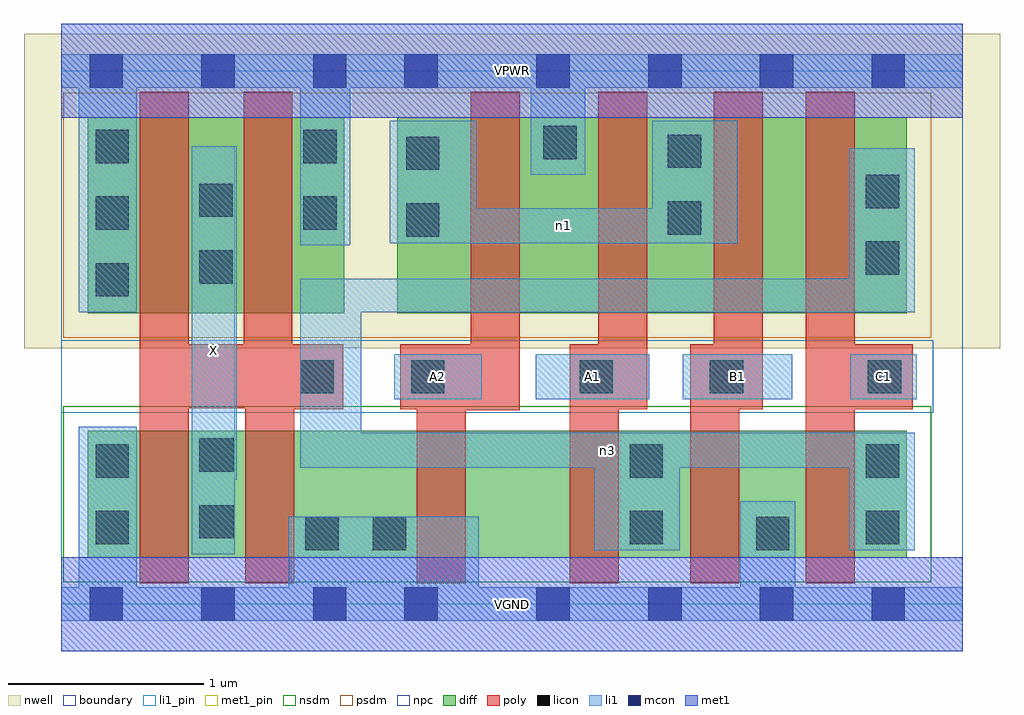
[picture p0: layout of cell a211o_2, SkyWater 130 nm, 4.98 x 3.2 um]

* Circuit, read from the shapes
.subckt a211o_2 A1 A2 B1 C1 VGND VPWR X n1 n3
XM1 X n3 VGND VSUBS sky130_fd_pr__nfet_01v8 w=0.65 l=0.25 m=2
XM2 n2 A2 VGND VSUBS sky130_fd_pr__nfet_01v8 w=0.65 l=0.25
XM3 n3 A1 n2 VSUBS sky130_fd_pr__nfet_01v8 w=0.65 l=0.25
XM4 VGND B1 n3 VSUBS sky130_fd_pr__nfet_01v8 w=0.65 l=0.25
XM5 n3 C1 VGND VSUBS sky130_fd_pr__nfet_01v8 w=0.65 l=0.25
XM6 X n3 VPWR n4 sky130_fd_pr__pfet_01v8 w=1 l=0.25 m=2
XM7 VPWR A2 n1 n4 sky130_fd_pr__pfet_01v8 w=1 l=0.25
XM8 n1 A1 VPWR n4 sky130_fd_pr__pfet_01v8 w=1 l=0.25
XM9 n5 B1 n1 n4 sky130_fd_pr__pfet_01v8 w=1 l=0.25
XM10 n3 C1 n5 n4 sky130_fd_pr__pfet_01v8 w=1 l=0.25
.ends

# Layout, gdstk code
import gdstk
lib = gdstk.Library(unit=1e-6, precision=1e-09)
def R(c, l, rs):  # rectangles x0, y0, x1, y1
    for r in rs: c.add(gdstk.rectangle(r[:2], r[2:], *l))
def A(c, l, x, y, w, h, nx, ny, dx, dy):  # array of equal rectangles
    R(c, l, [(x+i*dx, y+j*dy, x+i*dx+w, y+j*dy+h) for i in range(nx) for j in range(ny)])
nwell = (64, 20)
diff = (65, 20)
poly = (66, 20)
licon = (66, 44)
li1_pin = (67, 16)
li1 = (67, 20)
mcon = (67, 44)
met1_pin = (68, 16)
met1 = (68, 20)
nsdm = (93, 44)
psdm = (94, 20)
npc = (95, 20)
boundary = (235, 4)

a211o_2 = lib.new_cell('a211o_2')
R(a211o_2, nwell, [(-0.19,1.305,4.79,2.91), (0,1.305,4.6,2.91)])
R(a211o_2, diff, [(0.135,0.235,4.315,0.885), (0.135,1.485,1.445,2.485), (1.715,1.485,4.315,2.485)])
R(a211o_2, poly, [(0.4,0.105,0.65,2.615), (0.94,0.105,1.19,1.325), (1.815,0.105,2.065,1.325), (2.595,0.105,2.845,1.325), (3.21,0.105,3.46,1.325), (3.8,0.105,4.05,2.615), (1.815,0.99,2.34,1.325), (2.09,0.99,2.34,2.615), (0.94,0.995,1.44,1.325), (1.73,0.995,2.34,1.325), (2.74,0.995,2.99,2.615), (3.33,0.995,3.58,2.615), (3.8,0.995,4.345,1.325), (0.4,1,1.44,1.325), (0.93,1,1.18,2.615)])
A(a211o_2, licon, 0.175, 1.57, 0.17, 0.17, 1, 3, 0, 0.34)
R(a211o_2, licon, [(1.245,0.275,1.415,0.445), (1.59,0.275,1.76,0.445), (3.545,0.275,3.715,0.445), (0.175,0.305,0.345,0.475), (2.9,0.305,3.07,0.475), (4.105,0.305,4.275,0.475), (0.705,0.335,0.875,0.505), (0.71,0.335,0.88,0.505), (0.175,0.645,0.345,0.815), (2.9,0.645,3.07,0.815), (4.105,0.645,4.275,0.815), (0.705,0.675,0.875,0.845), (0.71,0.675,0.88,0.845), (1.22,1.075,1.39,1.245), (1.785,1.075,1.955,1.245), (2.645,1.075,2.815,1.245), (3.31,1.075,3.48,1.245), (4.115,1.075,4.285,1.245), (0.705,1.635,0.875,1.805), (4.105,1.68,4.275,1.85), (1.76,1.875,1.93,2.045), (3.095,1.885,3.265,2.055), (1.235,1.91,1.405,2.08), (0.705,1.975,0.875,2.145), (4.105,2.02,4.275,2.19), (1.76,2.215,1.93,2.385), (3.095,2.225,3.265,2.395), (1.235,2.25,1.405,2.42), (2.46,2.27,2.63,2.44)])
R(a211o_2, li1_pin, [(0.665,0.255,0.885,2.335), (1.7,1.045,2.145,1.275), (2.42,1.045,3,1.275), (3.17,1.045,3.73,1.275), (4.025,1.045,4.365,1.275)])
R(a211o_2, li1, [(0,-0.085,4.6,0.085), (0.09,-0.085,0.385,0.905), (1.16,-0.085,2.13,0.445), (3.465,-0.085,3.745,0.525), (0.665,0.255,0.885,2.335), (2.72,0.275,3.155,0.875), (4.02,0.275,4.355,0.875), (0.665,0.635,0.895,2.335), (1.22,0.695,4.355,0.875), (1.22,0.695,1.53,1.66), (1.7,1.045,2.145,1.275), (2.42,1.045,3,1.275), (3.17,1.045,3.73,1.275), (4.025,1.045,4.365,1.275), (0.09,1.49,0.385,2.805), (1.22,1.49,4.355,1.66), (4.02,1.49,4.355,2.325), (1.22,1.83,1.475,2.805), (1.675,1.84,3.45,2.02), (1.675,1.84,2.12,2.465), (3.015,1.84,3.45,2.465), (2.395,2.19,2.675,2.805), (0,2.635,4.6,2.805)])
A(a211o_2, mcon, 0.145, -0.085, 0.17, 0.17, 3, 2, 0.57, 2.72)
A(a211o_2, mcon, 2.425, -0.085, 0.17, 0.17, 4, 2, 0.57, 2.72)
R(a211o_2, mcon, [(1.75,-0.085,1.92,0.085), (1.75,2.635,1.92,2.805)])
R(a211o_2, met1_pin, [(0,-0.24,4.6,0.24), (0,2.48,4.6,2.96)])
R(a211o_2, met1, [(0,-0.24,4.6,0.24), (0,2.48,4.6,2.96)])
R(a211o_2, nsdm, [(0.01,0.11,4.44,1.01)])
R(a211o_2, psdm, [(0.01,1.36,4.44,2.61)])
R(a211o_2, npc, [(0,0.975,4.45,1.345)])
R(a211o_2, boundary, [(0,0,4.6,2.72)])
a211o_2.add(gdstk.Label('A1', (2.71,1.16), layer=67, texttype=5))
a211o_2.add(gdstk.Label('A2', (1.922,1.16), layer=67, texttype=5))
a211o_2.add(gdstk.Label('B1', (3.45,1.16), layer=67, texttype=5))
a211o_2.add(gdstk.Label('C1', (4.195,1.16), layer=67, texttype=5))
a211o_2.add(gdstk.Label('X', (0.775,1.295), layer=67, texttype=5))
a211o_2.add(gdstk.Label('n3', (2.787,0.785), layer=67, texttype=5))
a211o_2.add(gdstk.Label('n1', (2.562,1.93), layer=67, texttype=5))
a211o_2.add(gdstk.Label('VPWR', (2.3,2.72), layer=68, texttype=5))
a211o_2.add(gdstk.Label('VGND', (2.3,0), layer=68, texttype=5))
a211o_2.add(gdstk.Label('A1', (2.71,1.16), layer=67, texttype=16))
a211o_2.add(gdstk.Label('A2', (1.922,1.16), layer=67, texttype=16))
a211o_2.add(gdstk.Label('B1', (3.45,1.16), layer=67, texttype=16))
a211o_2.add(gdstk.Label('C1', (4.195,1.16), layer=67, texttype=16))
a211o_2.add(gdstk.Label('X', (0.775,1.295), layer=67, texttype=16))
a211o_2.add(gdstk.Label('VPWR', (2.3,2.72), layer=68, texttype=16))
a211o_2.add(gdstk.Label('VGND', (2.3,0), layer=68, texttype=16))

lib.write_gds('a211o_2.gds')
